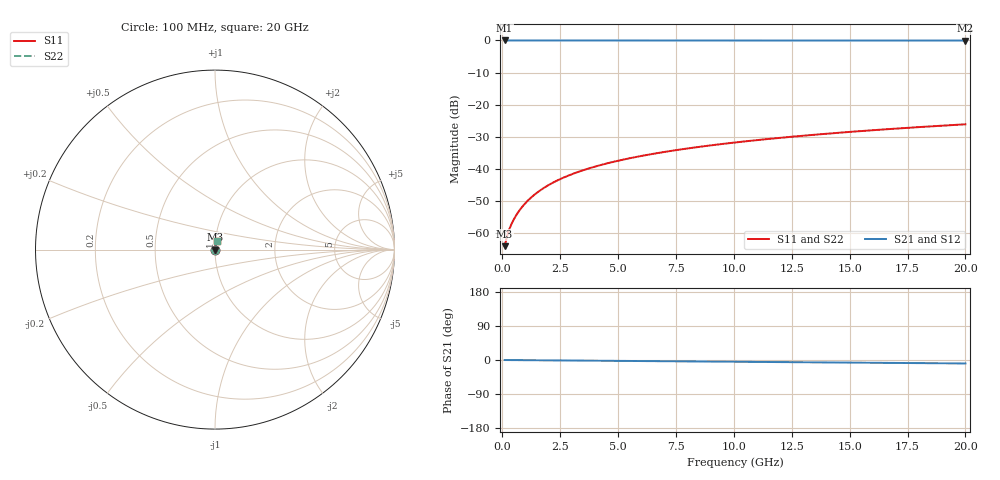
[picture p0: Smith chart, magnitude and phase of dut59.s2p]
! Touchstone file exported from HFSS 2026.1.0
!  File:  C:/ffzhzh/LocalFiles/Ansys_Project_Files/temp_train_BSMRDL_59_1782882685_46784.aedt
!  Generated:  01:12:33 PM Jul  1, 2026
!  Design:  BSMRDL
!  Project:  temp_train_BSMRDL_59_1782882685_46784
! Variables:
!  h_bsmrdl = 4.86um
!  h_ox = 20um
!  h_rdl = 5um
!  h_sub = 80um
!  h_tmrdl = 5um
!  h_tsv = 80um
!  h_via = 3um
!  l_bsmrdl = 128.83um
!  l_sub = 528.83um
!  l_tmrdl = 200um
!  m_sub = 200um
!  pitch = 42.44um
!  r_tsv = 6um
!  s_tmrdl = 10um
!  w_bsmrdl = 29.91um
!  w_sub = 500um
!  w_tmrdl = 12um
!  x_tsv_center1 = 206um
!  x_tsv_center2 = 364.74um
!  x_tsv_center3 = 576.74um
!  x_tsv_center4 = 735.48um
!  x_tsv_center5 = 947.48um
!  x_tsv_center6 = 1106.22um
# GHz S MA R 50.000000
! Terminal data exported
! Port[1] = BSM_RDL1_1_T1
! Port[2] = BSM_RDL1_1_T2
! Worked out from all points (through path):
!   200 points, 100 MHz to 20 GHz, reference 50 ohm
!   highest |S21| = 0.00 dB at 100 MHz (marker M1); lowest = 0.0 dB at 20 GHz (marker M2)
!   group delay of S21, straight-line fit = 1.26 ps
!   lowest |S11| = -64.2 dB at 100 MHz (marker M3), VSWR 1.00, Z = 50.1 + j0.0351 ohm
!   |S11| at or under -10 dB: start of sweep to end of sweep
!   |S22| runs from -64.2 to -26.2 dB; largest |S21 - S12| = 3.2e-15
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0.1  0.0006192 34.5  0.9995 -0.1  0.9995 -0.1  0.0006192 34.5
! Gamma 0 0 0 0
! Port Impedance 50 0 50 0
0.2  0.0008719 49.5  0.9994 -0.1  0.9994 -0.1  0.0008719 49.5
0.3  0.001128 56.9  0.9994 -0.1  0.9994 -0.1  0.001128 56.9
0.4  0.001378 61.6  0.9993 -0.2  0.9993 -0.2  0.001378 61.6
0.5  0.001627 65.2  0.9993 -0.2  0.9993 -0.2  0.001627 65.2
0.6  0.001878 67.9  0.9993 -0.3  0.9993 -0.3  0.001878 67.9
0.8  0.002388 71.9  0.9993 -0.4  0.9993 -0.4  0.002388 71.9
1.1  0.003171 75.5  0.9992 -0.5  0.9992 -0.5  0.003171 75.5
1.3  0.003699 77.1  0.9992 -0.6  0.9992 -0.6  0.003699 77.1
1.6  0.004496 78.6  0.9992 -0.8  0.9992 -0.8  0.004496 78.6
2.1  0.005824 80.1  0.9991 -1.0  0.9991 -1.0  0.005824 80.1
2.7  0.007408 80.9  0.999 -1.3  0.999 -1.3  0.007408 80.9
3.5  0.009491 81.3  0.9988 -1.6  0.9988 -1.6  0.009491 81.3
4.2  0.01128 81.4  0.9986 -2.0  0.9986 -2.0  0.01128 81.4
5  0.0133 81.4  0.9985 -2.3  0.9985 -2.3  0.0133 81.4
5.9  0.01554 81.3  0.9983 -2.7  0.9983 -2.7  0.01554 81.2
6.8  0.01776 81.1  0.9981 -3.2  0.9981 -3.2  0.01776 81.1
8.3  0.02141 80.8  0.9978 -3.8  0.9978 -3.8  0.02141 80.8
10.1  0.02575 80.4  0.9974 -4.6  0.9974 -4.6  0.02575 80.4
13.4  0.03365 79.5  0.9969 -6.1  0.9969 -6.1  0.03365 79.4
16.7  0.04148 78.4  0.9962 -7.6  0.9962 -7.6  0.04148 78.4
20  0.04923 77.2  0.9956 -9.1  0.9956 -9.1  0.04923 77.1
